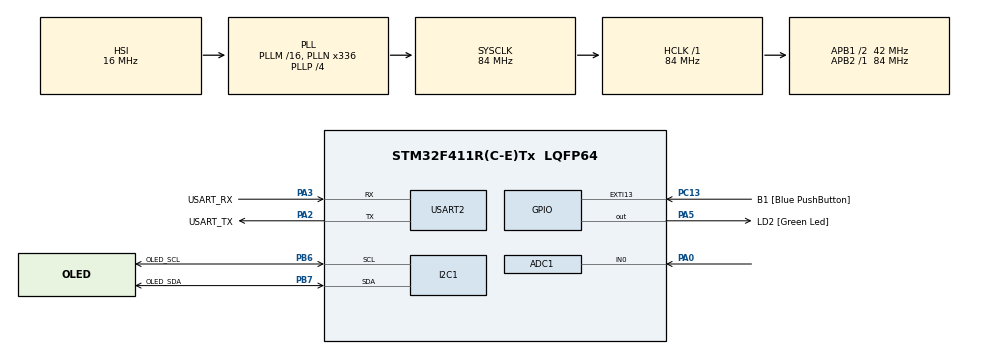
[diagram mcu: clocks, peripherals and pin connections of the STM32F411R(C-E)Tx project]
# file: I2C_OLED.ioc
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ADC1.Channel-0\#ChannelRegularConversion=ADC_CHANNEL_0
ADC1.DMAContinuousRequests=ENABLE
ADC1.ExternalTrigConv=ADC_EXTERNALTRIGCONV_T2_TRGO
ADC1.NbrOfConversionFlag=1
ADC1.Rank-0\#ChannelRegularConversion=1
ADC1.SamplingTime-0\#ChannelRegularConversion=ADC_SAMPLETIME_3CYCLES
ADC1.master=1
Dma.ADC1.1.Direction=DMA_PERIPH_TO_MEMORY
Dma.ADC1.1.FIFOMode=DMA_FIFOMODE_DISABLE
Dma.ADC1.1.Instance=DMA2_Stream0
Dma.ADC1.1.MemDataAlignment=DMA_MDATAALIGN_HALFWORD
Dma.ADC1.1.MemInc=DMA_MINC_ENABLE
Dma.ADC1.1.Mode=DMA_CIRCULAR
Dma.ADC1.1.PeriphDataAlignment=DMA_PDATAALIGN_HALFWORD
Dma.ADC1.1.PeriphInc=DMA_PINC_DISABLE
Dma.ADC1.1.Priority=DMA_PRIORITY_LOW
Dma.I2C1_TX.0.Direction=DMA_MEMORY_TO_PERIPH
Dma.I2C1_TX.0.FIFOMode=DMA_FIFOMODE_DISABLE
Dma.I2C1_TX.0.Instance=DMA1_Stream1
Dma.I2C1_TX.0.MemDataAlignment=DMA_MDATAALIGN_BYTE
Dma.I2C1_TX.0.MemInc=DMA_MINC_ENABLE
Dma.I2C1_TX.0.Mode=DMA_NORMAL
Dma.I2C1_TX.0.PeriphDataAlignment=DMA_PDATAALIGN_BYTE
Dma.I2C1_TX.0.PeriphInc=DMA_PINC_DISABLE
Dma.I2C1_TX.0.Priority=DMA_PRIORITY_LOW
Dma.Request0=I2C1_TX
Dma.Request1=ADC1
I2C1.I2C_Mode=I2C_Fast
Mcu.Family=STM32F4
Mcu.Name=STM32F411R(C-E)Tx
Mcu.Package=LQFP64
NVIC.ADC_IRQn=true\:0\:0\:false\:true\:true\:3\:true\:true\:true
NVIC.DMA1_Stream1_IRQn=true\:0\:0\:false\:true\:true\:2\:false\:true\:true
NVIC.DMA2_Stream0_IRQn=true\:0\:0\:false\:true\:true\:4\:false\:true\:true
NVIC.I2C1_EV_IRQn=true\:0\:0\:false\:true\:true\:1\:true\:true\:true
NVIC.PriorityGroup=NVIC_PRIORITYGROUP_0
PA0-WKUP.Signal=ADCx_IN0
PA13.GPIO_Label=TMS
PA13.Mode=Serial_Wire
PA13.Signal=SYS_JTMS-SWDIO
PA14.GPIO_Label=TCK
PA14.Mode=Serial_Wire
PA14.Signal=SYS_JTCK-SWCLK
PA2.GPIO_Label=USART_TX
PA2.Mode=Asynchronous
PA2.Signal=USART2_TX
PA3.GPIO_Label=USART_RX
PA3.Mode=Asynchronous
PA3.Signal=USART2_RX
PA5.GPIO_Label=LD2 [Green Led]
PA5.Signal=GPIO_Output
PB3.GPIO_Label=SWO
PB3.Signal=SYS_JTDO-SWO
PB6.GPIO_Label=OLED_SCL
PB6.Mode=I2C
PB6.Signal=I2C1_SCL
PB7.GPIO_Label=OLED_SDA
PB7.Mode=I2C
PB7.Signal=I2C1_SDA
PC13-ANTI_TAMP.GPIO_Label=B1 [Blue PushButton]
PC13-ANTI_TAMP.GPIO_ModeDefaultEXTI=GPIO_MODE_IT_FALLING
PC13-ANTI_TAMP.Signal=GPXTI13
PC14-OSC32_IN.Mode=LSE-External-Oscillator
PC14-OSC32_IN.Signal=RCC_OSC32_IN
PC15-OSC32_OUT.Mode=LSE-External-Oscillator
PC15-OSC32_OUT.Signal=RCC_OSC32_OUT
PH0\ -\ OSC_IN.Mode=HSE-External-Clock-Source
PH0\ -\ OSC_IN.Signal=RCC_OSC_IN
PH1\ -\ OSC_OUT.Mode=HSE-External-Clock-Source
PH1\ -\ OSC_OUT.Signal=RCC_OSC_OUT
ProjectManager.HeapSize=0x200
ProjectManager.StackSize=0x400
ProjectManager.TargetToolchain=STM32CubeIDE
RCC.48MHZClocksFreq_Value=84000000
RCC.AHBFreq_Value=84000000
RCC.APB1CLKDivider=RCC_HCLK_DIV2
RCC.APB1Freq_Value=42000000
RCC.APB1TimFreq_Value=84000000
RCC.APB2Freq_Value=84000000
RCC.APB2TimFreq_Value=84000000
RCC.CortexFreq_Value=84000000
RCC.FLatency-AdvancedSettings=FLASH_LATENCY_2
RCC.HCLKFreq_Value=84000000
RCC.HSE_VALUE=8000000
RCC.HSI_VALUE=16000000
RCC.PLLN=336
RCC.PLLP=RCC_PLLP_DIV4
RCC.SYSCLKFreq_VALUE=84000000
RCC.SYSCLKSource=RCC_SYSCLKSOURCE_PLLCLK
RCC.VCOOutputFreq_Value=336000000
SH.ADCx_IN0.0=ADC1_IN0,IN0
TIM2.Period=634
TIM2.Prescaler=2
TIM2.TIM_MasterOutputTrigger=TIM_TRGO_UPDATE
USART2.VirtualMode=VM_ASYNC
VP_TIM2_VS_ClockSourceINT.Mode=Internal
board=NUCLEO-F411RE

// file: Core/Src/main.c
/* USER CODE BEGIN Header */
/**
  ******************************************************************************
  * @file           : main.c
  * @brief          : Main program body
  ******************************************************************************
  * @attention
  *
  * Copyright (c) 2024 STMicroelectronics.
  * All rights reserved.
  *
  * This software is licensed under terms that can be found in the LICENSE file
  * in the root directory of this software component.
  * If no LICENSE file comes with this software, it is provided AS-IS.
  *
  ******************************************************************************
  */
/* USER CODE END Header */
#include "main.h"
#include "adc.h"
#include "dma.h"
#include "i2c.h"
#include "tim.h"
#include "usart.h"
#include "gpio.h"

/* USER CODE BEGIN Includes */

#include "My_library/SSD1306_OLED.h"
#include "My_library/GFX_BW.h"
#include "My_library/fonts/fonts.h"
#include "My_library/logo.h"
#include"My_library/BMP280.h"

#include <stdio.h>
#include <math.h>
#include "arm_math.h"
/* USER CODE END Includes */

/* USER CODE BEGIN PD */
#define FFT_SAMPLES 1024
/* USER CODE END PD */

/* USER CODE BEGIN PV */
//BMP280
extern I2C_HandleTypeDef *BMP_I2C;
uint32_t MeasureTim;
float Pressure, Temperature;
//BMP280

//OLED
char Message[32];
uint32_t OledTim;
//OLED

// Microphone
uint16_t AdcMicrophone[FFT_SAMPLES];

float FFT_InBuffer[FFT_SAMPLES];
float FFT_OutBuffer[FFT_SAMPLES];

arm_rfft_fast_instance_f32 FFTHandler;

volatile uint8_t SamplesReady; //rdy to cacl FFT

uint8_t OutFreqArray[10];
// Microphone
/* USER CODE END PV */

void SystemClock_Config(void);
static void MX_NVIC_Init(void);
/* USER CODE BEGIN PFP */
void CalculateFFT(void);
/* USER CODE END PFP */

int main(void)
{

  /* MCU Configuration--------------------------------------------------------*/

  /* Reset of all peripherals, Initializes the Flash interface and the Systick. */
  HAL_Init();

  /* Configure the system clock */
  SystemClock_Config();

  /* Initialize all configured peripherals */
  MX_GPIO_Init();
  MX_DMA_Init();
  MX_USART2_UART_Init();
  MX_I2C1_Init();
  MX_ADC1_Init();
  MX_TIM2_Init();

  /* Initialize interrupts */
  MX_NVIC_Init();
  /* USER CODE BEGIN 2 */
  BMP280_Init(&hi2c1);

  SSD1306_Init(&hi2c1);

  GFX_SetFont(font_8x5);

  SSD1306_Clear(BLACK);

  SSD1306_Display();

  HAL_TIM_Base_Start(&htim2);
  HAL_ADC_Start_DMA(&hadc1, (uint32_t*)AdcMicrophone, FFT_SAMPLES);
  arm_rfft_fast_init_f32(&FFTHandler, FFT_SAMPLES);

  MeasureTim = HAL_GetTick();
  OledTim = HAL_GetTick();
  /* USER CODE END 2 */

  /* Infinite loop */
  /* USER CODE BEGIN WHILE */
  while (1)
  {
	  //BMP280
	  if( (HAL_GetTick() - MeasureTim) > 10)
	  {
		  MeasureTim = HAL_GetTick();
		  if(BMP_I2C->State == HAL_I2C_STATE_READY)
		  {
			  BMP280_ReadPressureTemp(&Pressure, &Temperature);
		  }
	  }
	  //Microphone
	  if(SamplesReady == 1)
	  {
		  SamplesReady = 0;

		  //put samples into input buffer
		  for(uint32_t i = 0; i < FFT_SAMPLES; i++)
		  {
			  FFT_InBuffer[i] = (float)AdcMicrophone[i];
		  }

		  CalculateFFT();
	  }

	  //OLED
	  if( (HAL_GetTick() - OledTim) > 100)
	  {
		  OledTim = HAL_GetTick();

		  SSD1306_Clear(BLACK);

		  //BMP280 data
		  sprintf(Message, "Press: %.2f hPa", Pressure);
		  GFX_DrawString(0, 0, Message, WHITE, 0);

		  sprintf(Message, "Temp: %.2f C", Temperature);
		  GFX_DrawString(0, 10, Message, WHITE, 0);

		  //FFT microphone
		  for(uint8_t i = 0; i < 10; i++)
		  {
			  GFX_DrawFillRectangle(10 + (i * 11), 64 - OutFreqArray[i], 10, OutFreqArray[i], WHITE);
		  }

		  SSD1306_Display();
	  }

    /* USER CODE END WHILE */

  }
}

void SystemClock_Config(void)
{
  RCC_OscInitTypeDef RCC_OscInitStruct = {0};
  RCC_ClkInitTypeDef RCC_ClkInitStruct = {0};

  /** Configure the main internal regulator output voltage
  */
  __HAL_RCC_PWR_CLK_ENABLE();
  __HAL_PWR_VOLTAGESCALING_CONFIG(PWR_REGULATOR_VOLTAGE_SCALE1);

  /** Initializes the RCC Oscillators according to the specified parameters
  * in the RCC_OscInitTypeDef structure.
  */
  RCC_OscInitStruct.OscillatorType = RCC_OSCILLATORTYPE_HSI;
  RCC_OscInitStruct.HSIState = RCC_HSI_ON;
  RCC_OscInitStruct.HSICalibrationValue = RCC_HSICALIBRATION_DEFAULT;
  RCC_OscInitStruct.PLL.PLLState = RCC_PLL_ON;
  RCC_OscInitStruct.PLL.PLLSource = RCC_PLLSOURCE_HSI;
  RCC_OscInitStruct.PLL.PLLM = 16;
  RCC_OscInitStruct.PLL.PLLN = 336;
  RCC_OscInitStruct.PLL.PLLP = RCC_PLLP_DIV4;
  RCC_OscInitStruct.PLL.PLLQ = 4;
  if (HAL_RCC_OscConfig(&RCC_OscInitStruct) != HAL_OK)
  {
    Error_Handler();
  }

  /** Initializes the CPU, AHB and APB buses clocks
  */
  RCC_ClkInitStruct.ClockType = RCC_CLOCKTYPE_HCLK|RCC_CLOCKTYPE_SYSCLK
                              |RCC_CLOCKTYPE_PCLK1|RCC_CLOCKTYPE_PCLK2;
  RCC_ClkInitStruct.SYSCLKSource = RCC_SYSCLKSOURCE_PLLCLK;
  RCC_ClkInitStruct.AHBCLKDivider = RCC_SYSCLK_DIV1;
  RCC_ClkInitStruct.APB1CLKDivider = RCC_HCLK_DIV2;
  RCC_ClkInitStruct.APB2CLKDivider = RCC_HCLK_DIV1;

  if (HAL_RCC_ClockConfig(&RCC_ClkInitStruct, FLASH_LATENCY_2) != HAL_OK)
  {
    Error_Handler();
  }
}

/**
  * @brief NVIC Configuration.
  * @retval None
  */
static void MX_NVIC_Init(void)
{
  /* I2C1_EV_IRQn interrupt configuration */
  HAL_NVIC_SetPriority(I2C1_EV_IRQn, 0, 0);
  HAL_NVIC_EnableIRQ(I2C1_EV_IRQn);
  /* DMA1_Stream1_IRQn interrupt configuration */
  HAL_NVIC_SetPriority(DMA1_Stream1_IRQn, 0, 0);
  HAL_NVIC_EnableIRQ(DMA1_Stream1_IRQn);
  /* ADC_IRQn interrupt configuration */
  HAL_NVIC_SetPriority(ADC_IRQn, 0, 0);
  HAL_NVIC_EnableIRQ(ADC_IRQn);
  /* DMA2_Stream0_IRQn interrupt configuration */
  HAL_NVIC_SetPriority(DMA2_Stream0_IRQn, 0, 0);
  HAL_NVIC_EnableIRQ(DMA2_Stream0_IRQn);
}

/* USER CODE BEGIN 4 */

void HAL_ADC_ConvCpltCallback(ADC_HandleTypeDef *hadc)
{
	if(hadc->Instance == ADC1)
	{
		SamplesReady = 1;
	}
}

/** complexABS
 * @brief Calculate absolute values from complex nums.
 * Used in CalculateFFT.
 *
 * @param real Real part.
 * @param compl Imaginary part.
 *
 * @retval Absolute value.
 * */
float complexABS(float real, float compl)
{
	return sqrt(real * real + compl * compl);
}

/** CalculateFFT
 * @brief Calculate FFT from data measured by microphone.
 * Arm math instructions were used to speed up calculations.
 *
 * @param None.
 *
 * @retval None.
 * */
void CalculateFFT(void)
{
	arm_rfft_fast_f32(&FFTHandler, FFT_InBuffer, FFT_OutBuffer, 0);

	int Freqs[FFT_SAMPLES];
	int FreqPoint = 0;
	int Offset = 45; //noise floor offset

	//calc abs values and linear to dB
	for(int i = 0; i < FFT_SAMPLES; i += 2)
	{
		Freqs[FreqPoint] = (int)(20 * log10f(complexABS(FFT_OutBuffer[i], FFT_OutBuffer[i + 1]))) - Offset; //conv to dB

		if(Freqs[FreqPoint] < 0)
		{
			Freqs[FreqPoint] = 0;
		}
		FreqPoint++;
	}

	OutFreqArray[0] = (uint8_t)Freqs[1]; //22 Hz
	OutFreqArray[1] = (uint8_t)Freqs[2]; //63 Hz
	OutFreqArray[2] = (uint8_t)Freqs[3]; //125 Hz
	OutFreqArray[3] = (uint8_t)Freqs[6]; //250 Hz
	OutFreqArray[4] = (uint8_t)Freqs[12]; //500 Hz
	OutFreqArray[5] = (uint8_t)Freqs[23]; //1000 Hz
	OutFreqArray[6] = (uint8_t)Freqs[51]; //2200 Hz
	OutFreqArray[7] = (uint8_t)Freqs[104]; //4500 Hz
	OutFreqArray[8] = (uint8_t)Freqs[207]; //9000 Hz
	OutFreqArray[9] = (uint8_t)Freqs[344]; //15000 Hz

}
/* USER CODE END 4 */

void Error_Handler(void)
{
  __disable_irq();
  while (1)
  {
  }
}
